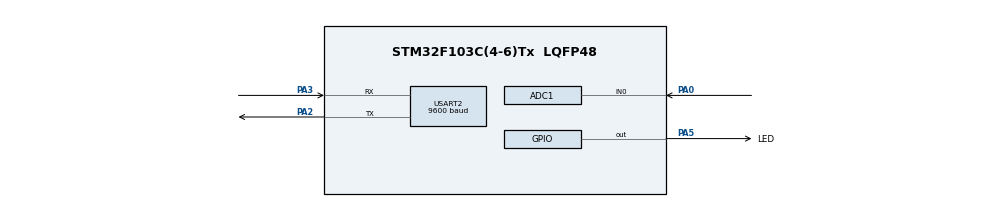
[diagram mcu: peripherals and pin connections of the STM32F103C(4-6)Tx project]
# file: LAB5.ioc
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ADC1.Channel-0\#ChannelRegularConversion=ADC_CHANNEL_0
ADC1.ContinuousConvMode=ENABLE
ADC1.NbrOfConversionFlag=1
ADC1.Rank-0\#ChannelRegularConversion=1
ADC1.SamplingTime-0\#ChannelRegularConversion=ADC_SAMPLETIME_1CYCLE_5
ADC1.master=1
Mcu.Family=STM32F1
Mcu.Name=STM32F103C(4-6)Tx
Mcu.Package=LQFP48
NVIC.PriorityGroup=NVIC_PRIORITYGROUP_4
NVIC.TIM2_IRQn=true\:0\:0\:false\:false\:true\:true\:true
NVIC.USART2_IRQn=true\:0\:0\:false\:false\:true\:true\:true
PA0-WKUP.Signal=ADCx_IN0
PA2.Mode=Asynchronous
PA2.Signal=USART2_TX
PA3.Mode=Asynchronous
PA3.Signal=USART2_RX
PA5.GPIO_Label=LED
PA5.Signal=GPIO_Output
ProjectManager.HeapSize=0x200
ProjectManager.StackSize=0x400
ProjectManager.TargetToolchain=STM32CubeIDE
RCC.APB1Freq_Value=8000000
RCC.APB2Freq_Value=8000000
SH.ADCx_IN0.0=ADC2_IN0
SH.ADCx_IN0.1=ADC1_IN0,IN0
TIM2.Period=9
TIM2.Prescaler=7999
USART2.BaudRate=9600
USART2.VirtualMode=VM_ASYNC
VP_SYS_VS_ND.Mode=No_Debug
VP_TIM2_VS_ClockSourceINT.Mode=Internal
board=custom

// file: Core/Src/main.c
/* USER CODE BEGIN Header */
/**
  ******************************************************************************
  * @file           : main.c
  * @brief          : Main program body
  ******************************************************************************
  * @attention
  *
  * <h2><center>&copy; Copyright (c) 2023 STMicroelectronics.
  * All rights reserved.</center></h2>
  *
  * This software component is licensed by ST under BSD 3-Clause license,
  * the "License"; You may not use this file except in compliance with the
  * License. You may obtain a copy of the License at:
  *                        opensource.org/licenses/BSD-3-Clause
  *
  ******************************************************************************
  */
/* USER CODE END Header */
#include "main.h"

/* USER CODE BEGIN Includes */
#include <stdio.h>
#include "software_timer.h"
/* USER CODE END Includes */

/* USER CODE BEGIN PD */
#define	MAX_BUFFER_SIZE	30
#define INIT		0
#define RST_BEGIN	1 // !
#define RST_R		2 // R
#define RST_S		3 // S
#define RST_T		4 // T
#define RST_END		5 // #
#define OK_BEGIN	6 // !
#define OK_O		7 // O
#define OK_K		8 // K
#define MESSAGE_SEND 1
#define MESSAGE_WAIT 2
/* USER CODE END PD */

ADC_HandleTypeDef hadc1;

TIM_HandleTypeDef htim2;

UART_HandleTypeDef huart2;

void SystemClock_Config(void);
static void MX_GPIO_Init(void);
static void MX_USART2_UART_Init(void);
static void MX_TIM2_Init(void);
static void MX_ADC1_Init(void);
/* USER CODE BEGIN PFP */
void main_fsm(void);
void command_parser_fsm(void);
void uart_communication_fsm(void);
/* USER CODE END PFP */

/* USER CODE BEGIN 0 */
uint8_t temp = 0;
uint8_t buffer_flag = 0;
uint8_t	buffer[MAX_BUFFER_SIZE];
uint8_t index_buffer = 0;
char str[50];
int parser_mode = 0;
int message_mode = 0;
uint32_t ADC_Value = 0;
/* USER CODE END 0 */

int main(void)
{

  /* MCU Configuration--------------------------------------------------------*/

  /* Reset of all peripherals, Initializes the Flash interface and the Systick. */
  HAL_Init();

  /* Configure the system clock */
  SystemClock_Config();

  /* Initialize all configured peripherals */
  MX_GPIO_Init();
  MX_USART2_UART_Init();
  MX_TIM2_Init();
  MX_ADC1_Init();
  /* USER CODE BEGIN 2 */
  HAL_UART_Receive_IT(&huart2, &temp, 1);
  HAL_ADC_Start(&hadc1);
  HAL_TIM_Base_Start_IT(&htim2);
  /* USER CODE END 2 */

  /* Infinite loop */
  while (1)
  {

    /* USER CODE BEGIN 3 */
	  main_fsm();
  }
  /* USER CODE END 3 */
}

void SystemClock_Config(void)
{
  RCC_OscInitTypeDef RCC_OscInitStruct = {0};
  RCC_ClkInitTypeDef RCC_ClkInitStruct = {0};
  RCC_PeriphCLKInitTypeDef PeriphClkInit = {0};

  /** Initializes the RCC Oscillators according to the specified parameters
  * in the RCC_OscInitTypeDef structure.
  */
  RCC_OscInitStruct.OscillatorType = RCC_OSCILLATORTYPE_HSI;
  RCC_OscInitStruct.HSIState = RCC_HSI_ON;
  RCC_OscInitStruct.HSICalibrationValue = RCC_HSICALIBRATION_DEFAULT;
  RCC_OscInitStruct.PLL.PLLState = RCC_PLL_NONE;
  if (HAL_RCC_OscConfig(&RCC_OscInitStruct) != HAL_OK)
  {
    Error_Handler();
  }
  /** Initializes the CPU, AHB and APB buses clocks
  */
  RCC_ClkInitStruct.ClockType = RCC_CLOCKTYPE_HCLK|RCC_CLOCKTYPE_SYSCLK
                              |RCC_CLOCKTYPE_PCLK1|RCC_CLOCKTYPE_PCLK2;
  RCC_ClkInitStruct.SYSCLKSource = RCC_SYSCLKSOURCE_HSI;
  RCC_ClkInitStruct.AHBCLKDivider = RCC_SYSCLK_DIV1;
  RCC_ClkInitStruct.APB1CLKDivider = RCC_HCLK_DIV1;
  RCC_ClkInitStruct.APB2CLKDivider = RCC_HCLK_DIV1;

  if (HAL_RCC_ClockConfig(&RCC_ClkInitStruct, FLASH_LATENCY_0) != HAL_OK)
  {
    Error_Handler();
  }
  PeriphClkInit.PeriphClockSelection = RCC_PERIPHCLK_ADC;
  PeriphClkInit.AdcClockSelection = RCC_ADCPCLK2_DIV2;
  if (HAL_RCCEx_PeriphCLKConfig(&PeriphClkInit) != HAL_OK)
  {
    Error_Handler();
  }
}

static void MX_ADC1_Init(void)
{

  ADC_ChannelConfTypeDef sConfig = {0};

  /** Common config
  */
  hadc1.Instance = ADC1;
  hadc1.Init.ScanConvMode = ADC_SCAN_DISABLE;
  hadc1.Init.ContinuousConvMode = ENABLE;
  hadc1.Init.DiscontinuousConvMode = DISABLE;
  hadc1.Init.ExternalTrigConv = ADC_SOFTWARE_START;
  hadc1.Init.DataAlign = ADC_DATAALIGN_RIGHT;
  hadc1.Init.NbrOfConversion = 1;
  if (HAL_ADC_Init(&hadc1) != HAL_OK)
  {
    Error_Handler();
  }
  /** Configure Regular Channel
  */
  sConfig.Channel = ADC_CHANNEL_0;
  sConfig.Rank = ADC_REGULAR_RANK_1;
  sConfig.SamplingTime = ADC_SAMPLETIME_1CYCLE_5;
  if (HAL_ADC_ConfigChannel(&hadc1, &sConfig) != HAL_OK)
  {
    Error_Handler();
  }

}

static void MX_TIM2_Init(void)
{

  TIM_ClockConfigTypeDef sClockSourceConfig = {0};
  TIM_MasterConfigTypeDef sMasterConfig = {0};

  htim2.Instance = TIM2;
  htim2.Init.Prescaler = 7999;
  htim2.Init.CounterMode = TIM_COUNTERMODE_UP;
  htim2.Init.Period = 9;
  htim2.Init.ClockDivision = TIM_CLOCKDIVISION_DIV1;
  htim2.Init.AutoReloadPreload = TIM_AUTORELOAD_PRELOAD_DISABLE;
  if (HAL_TIM_Base_Init(&htim2) != HAL_OK)
  {
    Error_Handler();
  }
  sClockSourceConfig.ClockSource = TIM_CLOCKSOURCE_INTERNAL;
  if (HAL_TIM_ConfigClockSource(&htim2, &sClockSourceConfig) != HAL_OK)
  {
    Error_Handler();
  }
  sMasterConfig.MasterOutputTrigger = TIM_TRGO_RESET;
  sMasterConfig.MasterSlaveMode = TIM_MASTERSLAVEMODE_DISABLE;
  if (HAL_TIMEx_MasterConfigSynchronization(&htim2, &sMasterConfig) != HAL_OK)
  {
    Error_Handler();
  }

}

static void MX_USART2_UART_Init(void)
{

  huart2.Instance = USART2;
  huart2.Init.BaudRate = 9600;
  huart2.Init.WordLength = UART_WORDLENGTH_8B;
  huart2.Init.StopBits = UART_STOPBITS_1;
  huart2.Init.Parity = UART_PARITY_NONE;
  huart2.Init.Mode = UART_MODE_TX_RX;
  huart2.Init.HwFlowCtl = UART_HWCONTROL_NONE;
  huart2.Init.OverSampling = UART_OVERSAMPLING_16;
  if (HAL_UART_Init(&huart2) != HAL_OK)
  {
    Error_Handler();
  }

}

static void MX_GPIO_Init(void)
{
  GPIO_InitTypeDef GPIO_InitStruct = {0};

  /* GPIO Ports Clock Enable */
  __HAL_RCC_GPIOA_CLK_ENABLE();

  /*Configure GPIO pin Output Level */
  HAL_GPIO_WritePin(LED_GPIO_Port, LED_Pin, GPIO_PIN_RESET);

  /*Configure GPIO pin : PA0 */
  GPIO_InitStruct.Pin = GPIO_PIN_0;
  GPIO_InitStruct.Mode = GPIO_MODE_ANALOG;
  HAL_GPIO_Init(GPIOA, &GPIO_InitStruct);

  /*Configure GPIO pin : LED_Pin */
  GPIO_InitStruct.Pin = LED_Pin;
  GPIO_InitStruct.Mode = GPIO_MODE_OUTPUT_PP;
  GPIO_InitStruct.Pull = GPIO_NOPULL;
  GPIO_InitStruct.Speed = GPIO_SPEED_FREQ_LOW;
  HAL_GPIO_Init(LED_GPIO_Port, &GPIO_InitStruct);

}

/* USER CODE BEGIN 4 */
void HAL_TIM_PeriodElapsedCallback(TIM_HandleTypeDef *htim)
{
	timerRun();
}
void HAL_UART_RxCpltCallback(UART_HandleTypeDef *huart) {
	if (huart->Instance == USART2) {
		buffer[index_buffer++] = temp;
		if(index_buffer == MAX_BUFFER_SIZE) index_buffer = 0;
		buffer_flag = 1;
		HAL_UART_Receive_IT(&huart2, &temp, 1);
	}
}
void main_fsm(void){
	if(buffer_flag == 1){
		command_parser_fsm();
		buffer_flag = 0;
	}
	uart_communication_fsm();
}
void command_parser_fsm(void){
	int index;
	if (index_buffer == 0) index = MAX_BUFFER_SIZE;
	else index = index_buffer - 1;

	switch(parser_mode){
	case INIT:
		if (buffer[index] == '!') parser_mode = RST_BEGIN;
		break;

	case RST_BEGIN:
		if (buffer[index] == 'R') parser_mode = RST_R;
		else parser_mode = INIT;
		break;

	case RST_R:
		if (buffer[index] == 'S') parser_mode = RST_S;
		else parser_mode = INIT;
		break;

	case RST_S:
		if (buffer[index] == 'T') parser_mode = RST_T;
		else parser_mode = INIT;
		break;

	case RST_T:
		if (buffer[index] == '#'){
			 parser_mode = RST_END;
			 message_mode = MESSAGE_SEND;
		}
		else parser_mode = INIT;
		break;

	case RST_END:
		if (buffer[index] == '!') parser_mode = OK_BEGIN;
		break;

	case OK_BEGIN:
		if (buffer[index] == 'O') parser_mode = OK_O;
		else parser_mode = RST_END;
		break;

	case OK_O:
		if(buffer[index] == 'K') parser_mode = OK_K;
		else parser_mode = RST_END;
		break;

	case OK_K:
		if (buffer[index] == '#'){
			parser_mode = INIT;
			message_mode = INIT;
		}
		else parser_mode = RST_END;
		break;

	default:
			break;
	}

}

void uart_communication_fsm(void)
{
	switch(message_mode){
	case INIT:
		break;
	case MESSAGE_SEND:
		ADC_Value = HAL_ADC_GetValue(&hadc1);
		HAL_UART_Transmit(&huart2, (void*)str, sprintf(str, "!ADC=%d#\r\n",ADC_Value), 1000);
		setTimer(3000);
		message_mode = MESSAGE_WAIT;
		break;

	case MESSAGE_WAIT:
		if (timer_flag == 1){
			message_mode = MESSAGE_SEND;
		}
		break;
	}
}
/* USER CODE END 4 */

void Error_Handler(void)
{
  __disable_irq();
  while (1)
  {
  }
}

/************************ (C) COPYRIGHT STMicroelectronics *****END OF FILE****/
